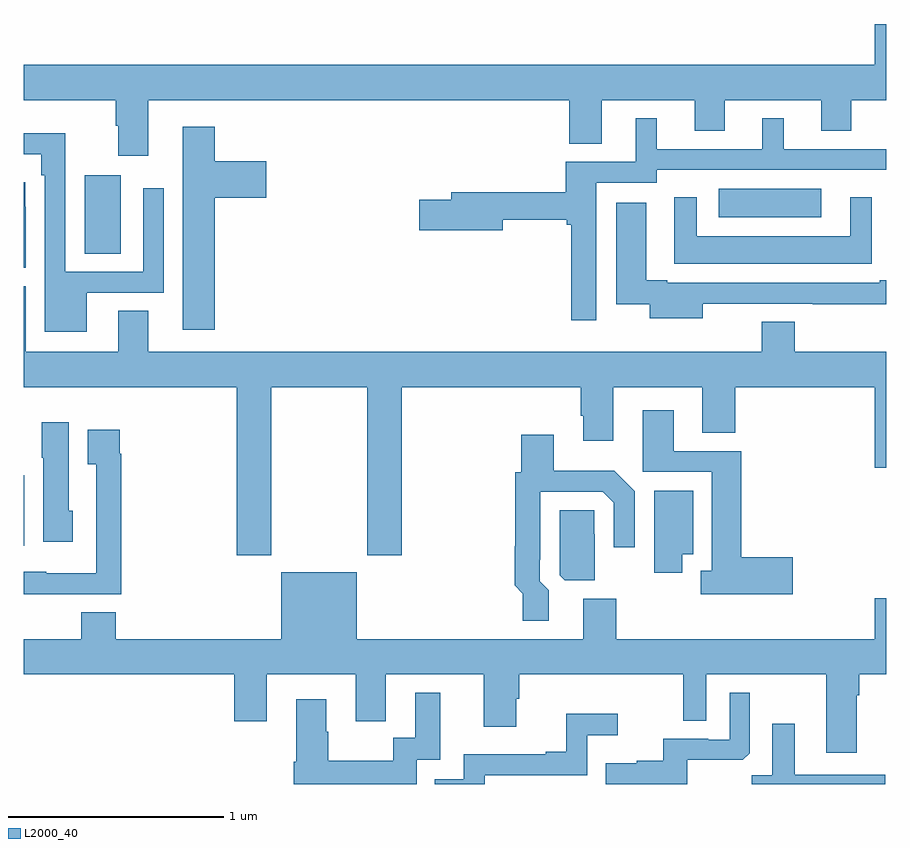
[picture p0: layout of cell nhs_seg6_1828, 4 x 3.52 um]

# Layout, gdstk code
import gdstk
lib = gdstk.Library(unit=1e-6, precision=1e-09)
def R(c, l, rs):  # rectangles x0, y0, x1, y1
    for r in rs: c.add(gdstk.rectangle(r[:2], r[2:], *l))
def P(c, l, *ps):  # polygons
    for p in ps: c.add(gdstk.Polygon(p, *l))
L2000_40 = (2000, 40)

nhs_seg6_1828 = lib.new_cell('nhs_seg6_1828')
R(nhs_seg6_1828, L2000_40, [(221,942.606,221.002,942.933), (221.282,943.96,221.449,944.323), (224.223,944.129,224.698,944.26)])
P(nhs_seg6_1828, L2000_40, [(221.578,944.672),(223.529,944.672),(223.529,944.47),(223.681,944.47),(223.681,944.672),(224.111,944.672),(224.111,944.53),(224.251,944.53),(224.251,944.672),(224.699,944.672),(224.699,944.53),(224.839,944.53),(224.839,944.672),(225,944.672),(225,945.025),(224.948,945.025),(224.948,944.836),(221,944.836),(221,944.672),(221.426,944.672),(221.426,944.552),(221.438,944.552),(221.438,944.415),(221.578,944.415)],
  [(223.656,944.289),(223.935,944.289),(223.935,944.349),(225,944.349),(225,944.445),(224.524,944.445),(224.524,944.587),(224.426,944.587),(224.426,944.445),(223.936,944.445),(223.936,944.587),(223.838,944.587),(223.838,944.385),(223.514,944.385),(223.514,944.245),(222.983,944.245),(222.983,944.211),(222.834,944.211),(222.834,944.069),(223.222,944.069),(223.222,944.116),(223.519,944.116),(223.519,944.093),(223.54,944.093),(223.54,943.65),(223.656,943.65)],
  [(221.885,944.219),(222.124,944.219),(222.124,944.389),(221.885,944.389),(221.885,944.548),(221.738,944.548),(221.738,943.608),(221.885,943.608)],
  [(221.293,943.779),(221.649,943.779),(221.649,944.263),(221.553,944.263),(221.553,943.875),(221.193,943.875),(221.193,944.518),(221,944.518),(221,944.42),(221.081,944.42),(221.081,944.324),(221.097,944.324),(221.097,943.598),(221.293,943.598)],
  [(221.008,944.177),(221.007,944.177),(221.007,944.29),(221,944.29),(221,943.894),(221.008,943.894)],
  [(224.932,944.221),(224.834,944.221),(224.834,944.041),(224.122,944.041),(224.122,944.221),(224.018,944.221),(224.018,943.913),(224.932,943.913)],
  [(224.149,943.728),(224.659,943.728),(224.659,943.726),(225,943.726),(225,943.837),(224.969,943.837),(224.969,943.824),(223.984,943.824),(223.984,943.837),(223.888,943.837),(223.888,944.197),(223.748,944.197),(223.748,943.726),(223.904,943.726),(223.904,943.661),(224.149,943.661)],
  [(222.147,943.34),(222.592,943.34),(222.592,942.561),(222.752,942.561),(222.752,943.34),(223.583,943.34),(223.583,943.207),(223.595,943.207),(223.595,943.092),(223.735,943.092),(223.735,943.34),(224.147,943.34),(224.147,943.129),(224.3,943.129),(224.3,943.34),(224.948,943.34),(224.948,942.966),(225,942.966),(225,943.504),(224.576,943.504),(224.576,943.643),(224.423,943.643),(224.423,943.504),(221.578,943.504),(221.578,943.694),(221.438,943.694),(221.438,943.504),(221.008,943.504),(221.008,943.809),(221,943.809),(221,943.34),(221.987,943.34),(221.987,942.561),(222.147,942.561)],
  [(224.566,942.551),(224.327,942.551),(224.327,943.044),(224.014,943.044),(224.014,943.234),(223.871,943.234),(223.871,942.948),(224.192,942.948),(224.192,942.49),(224.14,942.49),(224.14,942.38),(224.566,942.38)],
  [(221.227,942.768),(221.209,942.768),(221.209,943.177),(221.084,943.177),(221.084,943.014),(221.09,943.014),(221.09,942.624),(221.227,942.624)],
  [(221.203,942.381),(221.453,942.381),(221.453,943.031),(221.446,943.031),(221.446,943.144),(221.297,943.144),(221.297,942.983),(221.337,942.983),(221.337,942.478),(221.103,942.478),(221.103,942.484),(221,942.484),(221,942.38),(221.203,942.38)],
  [(223.435,942.398),(223.392,942.441),(223.392,942.541),(223.395,942.541),(223.395,942.855),(223.686,942.855),(223.737,942.804),(223.737,942.597),(223.833,942.597),(223.833,942.858),(223.739,942.952),(223.459,942.952),(223.459,943.12),(223.307,943.12),(223.307,942.945),(223.279,942.945),(223.279,942.602),(223.277,942.602),(223.277,942.421),(223.315,942.382),(223.315,942.258),(223.435,942.258)],
  [(224.055,942.566),(224.104,942.566),(224.104,942.859),(223.925,942.859),(223.925,942.479),(224.055,942.479)],
  [(223.648,942.659),(223.647,942.659),(223.647,942.77),(223.485,942.77),(223.485,942.468),(223.509,942.445),(223.648,942.445)],
  [(224.863,941.912),(224.876,941.912),(224.876,942.008),(225,942.008),(225,942.361),(224.948,942.361),(224.948,942.172),(223.748,942.172),(223.748,942.36),(223.595,942.36),(223.595,942.172),(222.544,942.172),(222.544,942.481),(222.194,942.481),(222.194,942.172),(221.426,942.172),(221.426,942.296),(221.266,942.296),(221.266,942.172),(221,942.172),(221,942.008),(221.975,942.008),(221.975,941.79),(222.127,941.79),(222.127,942.008),(222.539,942.008),(222.539,941.79),(222.679,941.79),(222.679,942.008),(223.133,942.008),(223.133,941.766),(223.285,941.766),(223.285,941.895),(223.298,941.895),(223.298,942.008),(224.058,942.008),(224.058,941.794),(224.166,941.794),(224.166,942.008),(224.723,942.008),(224.723,941.646),(224.863,941.646)],
  [(224.077,941.612),(224.335,941.612),(224.367,941.643),(224.367,941.923),(224.274,941.923),(224.274,941.706),(224.174,941.706),(224.174,941.709),(223.967,941.709),(223.967,941.608),(223.843,941.608),(223.843,941.596),(223.699,941.596),(223.699,941.5),(224.077,941.5)],
  [(222.822,941.613),(222.931,941.613),(222.931,941.923),(222.815,941.923),(222.815,941.714),(222.714,941.714),(222.714,941.608),(222.411,941.608),(222.411,941.742),(222.403,941.742),(222.403,941.893),(222.263,941.893),(222.263,941.604),(222.251,941.604),(222.251,941.5),(222.822,941.5)],
  [(223.137,941.541),(223.614,941.541),(223.614,941.726),(223.756,941.726),(223.756,941.825),(223.516,941.825),(223.516,941.65),(223.421,941.65),(223.421,941.637),(223.041,941.637),(223.041,941.523),(222.907,941.523),(222.907,941.5),(223.137,941.5)],
  [(224.995,941.542),(224.575,941.542),(224.575,941.779),(224.471,941.779),(224.471,941.54),(224.376,941.54),(224.376,941.5),(224.995,941.5)])

lib.write_gds('nhs_seg6_1828.gds')
